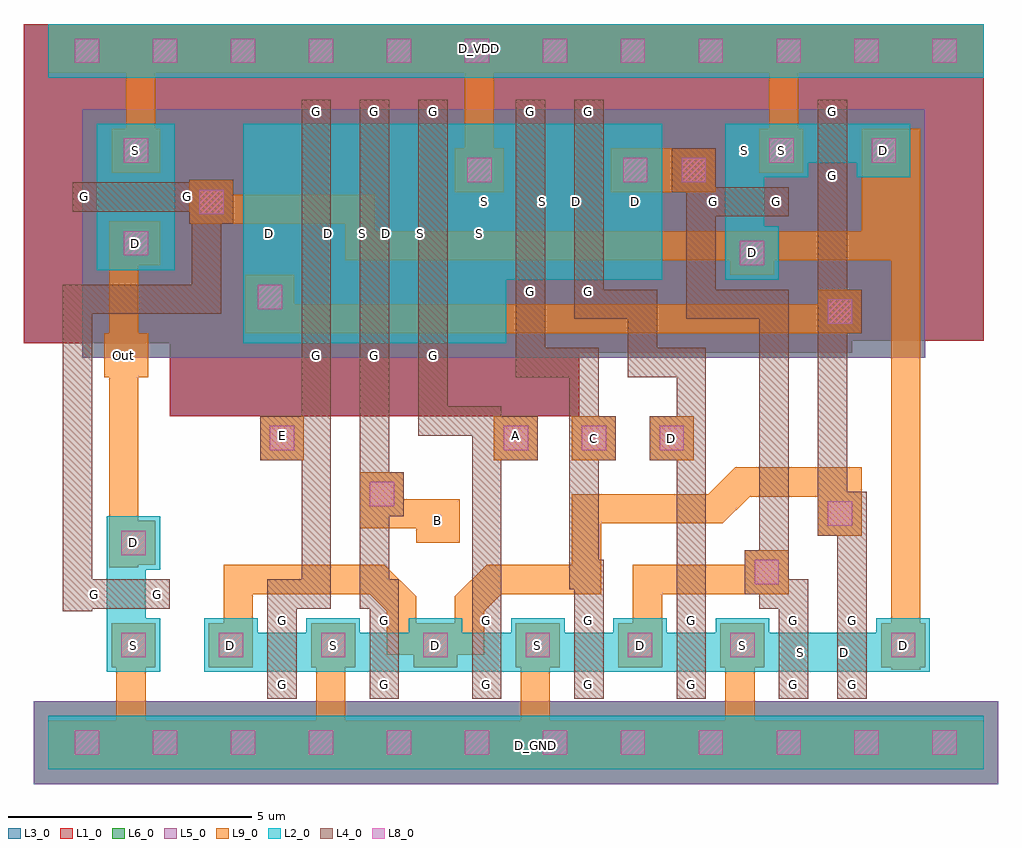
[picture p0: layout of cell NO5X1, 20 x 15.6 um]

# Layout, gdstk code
import gdstk
lib = gdstk.Library(unit=1e-6, precision=1e-09)
def R(c, l, rs):  # rectangles x0, y0, x1, y1
    for r in rs: c.add(gdstk.rectangle(r[:2], r[2:], *l))
def A(c, l, x, y, w, h, nx, ny, dx, dy):  # array of equal rectangles
    R(c, l, [(x+i*dx, y+j*dy, x+i*dx+w, y+j*dy+h) for i in range(nx) for j in range(ny)])
def P(c, l, *ps):  # polygons
    for p in ps: c.add(gdstk.Polygon(p, *l))
L1_0 = (1, 0)
L2_0 = (2, 0)
L3_0 = (3, 0)
L4_0 = (4, 0)
L5_0 = (5, 0)
L6_0 = (6, 0)
L8_0 = (8, 0)
L9_0 = (9, 0)

gridx1 = lib.new_cell('GRIDX1')
R(gridx1, L1_0, [(0,8.8,1.6,15.3)])
R(gridx1, L2_0, [(0,0,1.6,1.1), (0,14.2,1.6,15.3)])
R(gridx1, L3_0, [(0,8.8,1.6,15.3)])
R(gridx1, L5_0, [(0,-0.3,1.6,1.4)])
R(gridx1, L6_0, [(0,-0.3,1.6,1.4)])
R(gridx1, L8_0, [(0.55,0.3,1.05,0.8), (0.55,14.5,1.05,15)])
R(gridx1, L9_0, [(0,0,1.6,1), (0,14.3,1.6,15.3)])

no5x1 = lib.new_cell('NO5X1')
A(no5x1, L1_0, 2.5, 7.25, 6, 7.5, 3, 1, 1.2, 0)
R(no5x1, L1_0, [(6.9,8.55,12.9,14.75), (8.1,8.55,14.1,14.75), (12.4,8.55,16.5,14.75), (-0.5,8.75,4.1,14.75), (-0.5,8.8,19.2,15.3), (0,8.8,1.6,15.3), (0,8.8,1.6,15.3), (17.6,8.8,19.2,15.3), (13,10.65,19.2,14.75)])
A(no5x1, L2_0, 4.3, 2, 1, 0.8, 6, 1, 2.1, 0)
A(no5x1, L2_0, 5.1, 8.75, 0.8, 4.5, 3, 1, 1.2, 0)
R(no5x1, L2_0, [(0,0,1.6,1.1), (0,0,1.6,1.1), (17.6,0,19.2,1.1), (1.2,2,2.3,3.1), (3.2,2,4.3,3.1), (5.3,2,6.4,3.1), (5.3,2,6.4,3.1), (7.4,2,8.5,3.1), (7.4,2,8.5,3.1), (9.5,2,10.6,3.1), (9.5,2,10.6,3.1), (11.6,2,12.7,3.1), (11.6,2,12.7,3.1), (13.7,2,14.8,3.1), (13.7,2,14.8,3.1), (14.9,2,16,2.8), (15.8,2,16.9,2.8), (16,2,17,2.8), (17,2,18.1,3.1), (1.2,3.1,2,4.1), (1.2,4.1,2.3,5.2), (4,8.75,5.1,13.25), (5.2,8.75,6.3,13.25), (5.9,8.75,7,13.25), (6.4,8.75,7.5,13.25), (7.1,8.75,8.2,13.25), (8.3,8.75,9.4,13.25), (8.4,10.05,9.5,13.25), (9.5,10.05,10.3,13.25), (9.6,10.05,10.7,13.25), (10.3,10.05,11.4,13.25), (10.7,10.05,11.5,13.25), (11.5,10.05,12.6,13.25), (13.9,10.05,15,11.15), (1,10.25,2.6,11.35), (13.9,11.15,14.7,12.15), (1,11.35,2.6,12.15), (1,12.15,2.6,13.25), (13.9,12.15,14.7,13.25), (14.5,12.15,15.6,13.25), (16.6,12.15,17.7,13.25), (15.6,12.45,16.6,13.25), (0,14.2,1.6,15.3), (0,14.2,1.6,15.3), (17.6,14.2,19.2,15.3)])
A(no5x1, L3_0, 2.5, 7.25, 6, 7.5, 3, 1, 1.2, 0)
R(no5x1, L3_0, [(6.9,8.55,12.9,14.75), (8.1,8.55,14.1,14.75), (12.4,8.55,16.5,14.75), (-0.5,8.75,4.1,14.75), (-0.5,8.8,19.2,15.3), (0,8.8,1.6,15.3), (0,8.8,1.6,15.3), (17.6,8.8,19.2,15.3), (13,10.65,19.2,14.75)])
A(no5x1, L4_0, 4.5, 1.5, 0.6, 1.8, 6, 1, 2.1, 0)
A(no5x1, L4_0, 4.5, 1.5, 0.6, 0.5, 6, 2, 2.1, 1.3)
A(no5x1, L4_0, 9.15, 6.35, 0.9, 0.9, 3, 1, 1.6, 0)
A(no5x1, L4_0, 5.2, 8.25, 0.6, 0.5, 3, 2, 1.2, 5)
A(no5x1, L4_0, 5.2, 8.25, 0.6, 5.5, 3, 1, 1.2, 0)
R(no5x1, L4_0, [(16.2,1.5,16.8,3.3), (16.2,1.5,16.8,2), (16.2,2.8,16.8,3.3), (0.7,3.3,2.5,3.9), (0.7,3.3,1.2,3.9), (2,3.3,2.5,3.9), (14.3,3.6,15.2,4.5), (15.8,4.8,16.7,5.7), (6.4,5.2,7.3,6.1), (4.35,6.35,5.25,7.25), (15.8,8.95,16.7,9.85), (9.6,9.55,10.2,10.05), (9.6,9.55,10.2,13.75), (10.8,9.55,11.4,10.05), (10.8,9.55,11.4,13.75), (2.9,11.2,3.8,12.1), (13.4,11.35,15.2,11.95), (13.4,11.35,13.9,11.95), (14.7,11.35,15.2,11.95), (0.5,11.45,1,12.05), (0.5,11.45,3.1,12.05), (2.6,11.45,3.1,12.05), (12.8,11.85,13.7,12.75), (15.8,11.95,16.4,13.75), (15.8,11.95,16.4,12.45), (9.6,13.25,10.2,13.75), (10.8,13.25,11.4,13.75), (15.8,13.25,16.4,13.75)])
P(no5x1, L4_0, [(0.3,3.25),(0.9,3.25),(0.9,9.35),(3.55,9.35),(3.55,9.95),(0.3,9.95)],
  [(4.5,1.45),(5.1,1.45),(5.1,3.3),(5.8,3.3),(5.8,13.75),(5.2,13.75),(5.2,3.9),(4.5,3.9)],
  [(15.8,5.1),(16.2,5.1),(16.2,1.45),(16.8,1.45),(16.8,5.7),(16.4,5.7),(16.4,13.75),(15.8,13.75)],
  [(7.6,6.85),(8.7,6.85),(8.7,1.45),(9.3,1.45),(9.3,7.45),(8.2,7.45),(8.2,13.75),(7.6,13.75)],
  [(13.1,9.25),(14.6,9.25),(14.6,3.3),(15,3.3),(15,1.45),(15.6,1.45),(15.6,3.9),(15.2,3.9),(15.2,9.85),(13.7,9.85),(13.7,11.95),(13.1,11.95)],
  [(10.8,9.25),(11.9,9.25),(11.9,8.05),(12.9,8.05),(12.9,1.45),(13.5,1.45),(13.5,8.65),(12.5,8.65),(12.5,9.85),(11.4,9.85),(11.4,13.75),(10.8,13.75)],
  [(9.6,8.05),(10.7,8.05),(10.7,3.7),(10.8,3.7),(10.8,1.45),(11.4,1.45),(11.4,4.3),(11.3,4.3),(11.3,8.65),(10.2,8.65),(10.2,13.75),(9.6,13.75)],
  [(0.3,9.35),(3.55,9.35),(3.55,12.05),(2.95,12.05),(2.95,9.95),(0.3,9.95)],
  [(6.4,3.3),(6.6,3.3),(6.6,1.45),(7.2,1.45),(7.2,3.9),(7,3.9),(7,13.75),(6.4,13.75)])
A(no5x1, L5_0, 3.7, 8.45, 3.6, 5.1, 3, 1, 1.2, 0)
R(no5x1, L5_0, [(-0.3,-0.3,1.6,1.4), (17.6,-0.3,19.5,1.4), (0.7,8.45,18,13.55), (8.1,9.75,11.7,13.55), (9.3,9.75,12.9,13.55), (13.6,9.75,15.3,13.55), (0.7,9.95,2.9,13.55), (14.2,11.85,18,13.55)])
A(no5x1, L6_0, 3.7, 8.45, 3.6, 5.1, 3, 1, 1.2, 0)
R(no5x1, L6_0, [(-0.3,-0.3,1.6,1.4), (17.6,-0.3,19.5,1.4), (0.7,8.45,18,13.55), (8.1,9.75,11.7,13.55), (9.3,9.75,12.9,13.55), (13.6,9.75,15.3,13.55), (0.7,9.95,2.9,13.55), (14.2,11.85,18,13.55)])
A(no5x1, L8_0, 9.35, 6.55, 0.5, 0.5, 3, 1, 1.6, 0)
R(no5x1, L8_0, [(0.55,0.3,1.05,0.8), (0.55,0.3,1.05,0.8), (18.15,0.3,18.65,0.8), (1.5,2.3,2,2.8), (3.5,2.3,4,2.8), (5.6,2.3,6.1,2.8), (5.6,2.3,6.1,2.8), (7.7,2.3,8.2,2.8), (7.7,2.3,8.2,2.8), (9.8,2.3,10.3,2.8), (9.8,2.3,10.3,2.8), (11.9,2.3,12.4,2.8), (11.9,2.3,12.4,2.8), (14,2.3,14.5,2.8), (14,2.3,14.5,2.8), (17.3,2.3,17.8,2.8), (14.5,3.8,15,4.3), (1.5,4.4,2,4.9), (16,5,16.5,5.5), (6.6,5.4,7.1,5.9), (4.55,6.55,5.05,7.05), (16,9.15,16.5,9.65), (4.3,9.45,4.8,9.95), (14.2,10.35,14.7,10.85), (1.55,10.55,2.05,11.05), (3.1,11.4,3.6,11.9), (8.6,12.05,9.1,12.55), (11.8,12.05,12.3,12.55), (13,12.05,13.5,12.55), (1.55,12.45,2.05,12.95), (14.8,12.45,15.3,12.95), (16.9,12.45,17.4,12.95), (0.55,14.5,1.05,15), (0.55,14.5,1.05,15), (18.15,14.5,18.65,15)])
A(no5x1, L9_0, 5.5, 0.2, 0.6, 2.6, 3, 1, 4.2, 0)
A(no5x1, L9_0, 9.15, 6.35, 0.9, 0.9, 3, 1, 1.6, 0)
R(no5x1, L9_0, [(0,0,1.6,1), (0,0,1.6,1), (0,0,19.2,1), (17.6,0,19.2,1), (1.4,0.2,2,2.8), (9.7,0.2,10.3,0.8), (1.3,2.1,2.2,3), (3.3,2.1,4.2,3), (3.6,2.1,4.2,4.15), (5.4,2.1,6.3,3), (5.4,2.1,6.3,3), (7.5,2.1,8.4,3), (7.5,2.1,8.4,3), (9.6,2.1,10.5,3), (9.6,2.1,10.5,3), (11.7,2.1,12.6,3), (11.7,2.1,12.6,3), (13.8,2.1,14.7,3), (13.8,2.1,14.7,3), (17.1,2.1,18,3), (12,3.6,15.2,4.2), (14.3,3.6,15.2,4.5), (1.3,4.2,2.2,5.1), (7.55,4.65,8.45,5.55), (7.7,4.8,8.3,5.4), (15.8,4.8,16.7,5.7), (6.4,4.95,8.45,5.55), (6.4,5.2,7.3,6.1), (4.35,6.35,5.25,7.25), (10.9,6.5,11.5,7.1), (12.5,6.5,13.1,7.1), (4.5,6.55,5.1,7.15), (9.3,6.55,9.9,7.15), (1.15,8.05,2.05,8.95), (1.25,8.2,1.85,8.8), (4.05,8.95,16.4,9.55), (15.8,8.95,16.7,9.85), (4.05,9.25,5.05,10.15), (14,10.15,14.9,11.05), (1.3,10.35,2.3,11.25), (2.9,11.2,3.8,12.1), (8.35,11.85,9.35,12.75), (11.55,11.85,12.55,12.75), (11.6,11.85,13.7,12.75), (12.8,11.85,13.7,12.75), (8.55,11.95,9.15,15.1), (1.3,12.25,2.3,13.15), (14.6,12.25,15.5,13.15), (16.7,12.25,17.6,13.15), (14.8,12.35,15.4,15.05), (1.6,12.45,2.2,15.15), (0,14.3,1.6,15.3), (0,14.3,1.6,15.3), (0,14.3,19.2,15.3), (17.6,14.3,19.2,15.3), (8.55,14.5,9.15,15.1)])
P(no5x1, L9_0, [(9.5,3.6),(11.35,3.6),(11.35,5.05),(13.85,5.05),(14.4,5.6),(16.7,5.6),(16.7,6.2),(14.1,6.2),(13.55,5.65),(10.75,5.65),(10.75,4.2),(9.5,4.2)],
  [(17.2,12.55),(17.3,12.55),(17.3,2.05),(17.9,2.05),(17.9,13.15),(17.2,13.15)],
  [(3.6,3.6),(6.6,3.6),(6.95,3.25),(6.95,2.35),(8.95,2.35),(8.95,3.25),(9.3,3.6),(11.35,3.6),(11.35,4.2),(9,4.2),(8.35,3.55),(8.35,2.95),(7.55,2.95),(7.55,3.55),(6.9,4.2),(3.6,4.2)],
  [(11.95,2.25),(12.6,2.25),(12.6,4.05),(12,4.05),(12,2.85),(11.95,2.85)],
  [(14,10.45),(17.3,10.45),(17.3,13.15),(16.7,13.15),(16.7,11.05),(14,11.05)],
  [(1.25,4.15),(1.85,4.15),(1.85,10.65),(2.3,10.65),(2.3,11.25),(1.25,11.25)],
  [(2.9,11.2),(6.1,11.2),(6.1,10.45),(14.6,10.45),(14.6,11.05),(6.7,11.05),(6.7,11.8),(2.9,11.8)])
no5x1.add(gdstk.Reference(gridx1, (1.6,0)))
no5x1.add(gdstk.Reference(gridx1, (3.2,0)))
no5x1.add(gdstk.Reference(gridx1, (4.8,0)))
no5x1.add(gdstk.Reference(gridx1, (6.4,0)))
no5x1.add(gdstk.Reference(gridx1, (8,0)))
no5x1.add(gdstk.Reference(gridx1, (9.6,0)))
no5x1.add(gdstk.Reference(gridx1, (11.2,0)))
no5x1.add(gdstk.Reference(gridx1, (12.8,0)))
no5x1.add(gdstk.Reference(gridx1, (14.4,0)))
no5x1.add(gdstk.Reference(gridx1, (16,0)))
no5x1.add(gdstk.Label('G', (0.952,3.6), layer=4, texttype=0))
no5x1.add(gdstk.Label('G', (2.252,3.6), layer=4, texttype=0))
no5x1.add(gdstk.Label('S', (1.751,2.549), layer=9, texttype=0))
no5x1.add(gdstk.Label('D', (1.751,4.649), layer=9, texttype=0))
no5x1.add(gdstk.Label('D', (16.349,2.401), layer=2, texttype=0))
no5x1.add(gdstk.Label('G', (15.3,1.752), layer=4, texttype=0))
no5x1.add(gdstk.Label('G', (15.3,3.052), layer=4, texttype=0))
no5x1.add(gdstk.Label('S', (14.249,2.551), layer=9, texttype=0))
no5x1.add(gdstk.Label('G', (13.2,1.752), layer=4, texttype=0))
no5x1.add(gdstk.Label('G', (13.2,3.052), layer=4, texttype=0))
no5x1.add(gdstk.Label('S', (14.251,2.551), layer=9, texttype=0))
no5x1.add(gdstk.Label('D', (12.151,2.551), layer=9, texttype=0))
no5x1.add(gdstk.Label('G', (11.1,1.752), layer=4, texttype=0))
no5x1.add(gdstk.Label('G', (11.1,3.052), layer=4, texttype=0))
no5x1.add(gdstk.Label('S', (10.049,2.551), layer=9, texttype=0))
no5x1.add(gdstk.Label('D', (12.149,2.551), layer=9, texttype=0))
no5x1.add(gdstk.Label('G', (6.9,1.752), layer=4, texttype=0))
no5x1.add(gdstk.Label('G', (6.9,3.052), layer=4, texttype=0))
no5x1.add(gdstk.Label('S', (5.849,2.551), layer=9, texttype=0))
no5x1.add(gdstk.Label('D', (7.949,2.551), layer=9, texttype=0))
no5x1.add(gdstk.Label('G', (9,1.752), layer=4, texttype=0))
no5x1.add(gdstk.Label('G', (9,3.052), layer=4, texttype=0))
no5x1.add(gdstk.Label('S', (10.051,2.551), layer=9, texttype=0))
no5x1.add(gdstk.Label('D', (7.951,2.551), layer=9, texttype=0))
no5x1.add(gdstk.Label('G', (4.8,1.752), layer=4, texttype=0))
no5x1.add(gdstk.Label('G', (4.8,3.052), layer=4, texttype=0))
no5x1.add(gdstk.Label('S', (5.851,2.551), layer=9, texttype=0))
no5x1.add(gdstk.Label('D', (3.751,2.551), layer=9, texttype=0))
no5x1.add(gdstk.Label('G', (16.5,1.752), layer=4, texttype=0))
no5x1.add(gdstk.Label('G', (16.5,3.052), layer=4, texttype=0))
no5x1.add(gdstk.Label('S', (15.449,2.401), layer=2, texttype=0))
no5x1.add(gdstk.Label('D', (17.549,2.551), layer=9, texttype=0))
no5x1.add(gdstk.Label('G', (5.5,8.502), layer=4, texttype=0))
no5x1.add(gdstk.Label('G', (5.5,13.502), layer=4, texttype=0))
no5x1.add(gdstk.Label('S', (6.451,11.001), layer=2, texttype=0))
no5x1.add(gdstk.Label('D', (4.551,11.001), layer=2, texttype=0))
no5x1.add(gdstk.Label('G', (11.1,9.802), layer=4, texttype=0))
no5x1.add(gdstk.Label('G', (11.1,13.502), layer=4, texttype=0))
no5x1.add(gdstk.Label('S', (10.149,11.651), layer=2, texttype=0))
no5x1.add(gdstk.Label('D', (12.049,11.651), layer=2, texttype=0))
no5x1.add(gdstk.Label('G', (6.7,8.502), layer=4, texttype=0))
no5x1.add(gdstk.Label('G', (6.7,13.502), layer=4, texttype=0))
no5x1.add(gdstk.Label('S', (7.651,11.001), layer=2, texttype=0))
no5x1.add(gdstk.Label('D', (5.751,11.001), layer=2, texttype=0))
no5x1.add(gdstk.Label('G', (0.752,11.75), layer=4, texttype=0))
no5x1.add(gdstk.Label('G', (2.852,11.75), layer=4, texttype=0))
no5x1.add(gdstk.Label('S', (1.801,12.701), layer=9, texttype=0))
no5x1.add(gdstk.Label('D', (1.801,10.801), layer=9, texttype=0))
no5x1.add(gdstk.Label('G', (13.652,11.65), layer=4, texttype=0))
no5x1.add(gdstk.Label('G', (14.952,11.65), layer=4, texttype=0))
no5x1.add(gdstk.Label('S', (14.301,12.701), layer=2, texttype=0))
no5x1.add(gdstk.Label('D', (14.451,10.601), layer=9, texttype=0))
no5x1.add(gdstk.Label('G', (16.1,13.498), layer=4, texttype=0))
no5x1.add(gdstk.Label('G', (16.1,12.198), layer=4, texttype=0))
no5x1.add(gdstk.Label('S', (15.049,12.699), layer=9, texttype=0))
no5x1.add(gdstk.Label('D', (17.149,12.699), layer=9, texttype=0))
no5x1.add(gdstk.Label('G', (9.9,9.802), layer=4, texttype=0))
no5x1.add(gdstk.Label('G', (9.9,13.502), layer=4, texttype=0))
no5x1.add(gdstk.Label('S', (8.949,11.651), layer=2, texttype=0))
no5x1.add(gdstk.Label('D', (10.849,11.651), layer=2, texttype=0))
no5x1.add(gdstk.Label('G', (7.9,8.502), layer=4, texttype=0))
no5x1.add(gdstk.Label('G', (7.9,13.502), layer=4, texttype=0))
no5x1.add(gdstk.Label('S', (8.851,11.001), layer=2, texttype=0))
no5x1.add(gdstk.Label('D', (6.951,11.001), layer=2, texttype=0))
no5x1.add(gdstk.Label('A', (9.6,6.85), layer=50, texttype=0))
no5x1.add(gdstk.Label('B', (8,5.1), layer=50, texttype=0))
no5x1.add(gdstk.Label('C', (11.2,6.8), layer=50, texttype=0))
no5x1.add(gdstk.Label('D', (12.8,6.8), layer=50, texttype=0))
no5x1.add(gdstk.Label('D_GND', (10,0.5), layer=50, texttype=0))
no5x1.add(gdstk.Label('D_VDD', (8.85,14.8), layer=50, texttype=0))
no5x1.add(gdstk.Label('E', (4.8,6.85), layer=50, texttype=0))
no5x1.add(gdstk.Label('Out', (1.55,8.5), layer=50, texttype=0))

lib.write_gds('NO5X1.gds')
